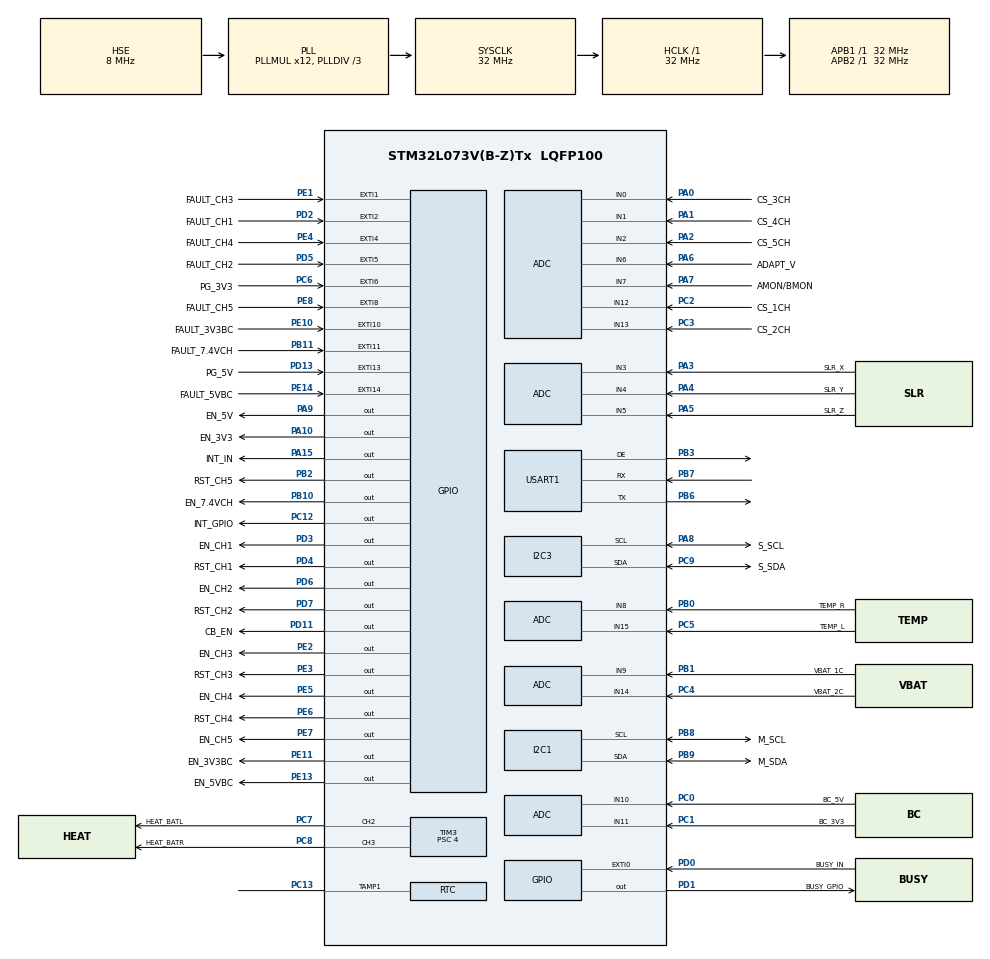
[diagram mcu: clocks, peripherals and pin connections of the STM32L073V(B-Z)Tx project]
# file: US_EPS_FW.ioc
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ADC.DMAContinuousRequests=ENABLE
ADC.EOCSelection=ADC_EOC_SEQ_CONV
ADC.ExternalTrigConv=ADC_EXTERNALTRIGCONV_T6_TRGO
ADC.OversamplingMode=ENABLE
ADC.Ratio=ADC_OVERSAMPLING_RATIO_16
ADC.RightBitShift=ADC_RIGHTBITSHIFT_4
ADC.SamplingTime=ADC_SAMPLETIME_12CYCLES_5
Dma.ADC.0.Direction=DMA_PERIPH_TO_MEMORY
Dma.ADC.0.Instance=DMA1_Channel1
Dma.ADC.0.MemDataAlignment=DMA_MDATAALIGN_HALFWORD
Dma.ADC.0.MemInc=DMA_MINC_ENABLE
Dma.ADC.0.Mode=DMA_CIRCULAR
Dma.ADC.0.PeriphDataAlignment=DMA_PDATAALIGN_HALFWORD
Dma.ADC.0.PeriphInc=DMA_PINC_DISABLE
Dma.ADC.0.Priority=DMA_PRIORITY_HIGH
Dma.Request0=ADC
FREERTOS.HEAP_NUMBER=1
FREERTOS.Tasks01=defaultTask,0,64,StartDefaultTask,Default,NULL,Dynamic,NULL,NULL;ADCTask,0,128,Start_ADCTask,As external,NULL,Dynamic,NULL,NULL;LedTask,-3,64,StartTask03,Default,NULL,Dynamic,NULL,NULL;myClimate,0,64,Start_PIDtask,Default,NULL,Dynamic,NULL,NULL;Fault_Task,2,128,StartTask_Fault05,Default,NULL,Dynamic,NULL,NULL
FREERTOS.configMINIMAL_STACK_SIZE=64
FREERTOS.configTOTAL_HEAP_SIZE=4096
FREERTOS.configUSE_COUNTING_SEMAPHORES=1
I2C1.Timing=0x00707CBB
I2C3.Timeout=0x00008186
I2C3.Timing=0x00707CBB
Mcu.Family=STM32L0
Mcu.Name=STM32L073V(B-Z)Tx
Mcu.Package=LQFP100
NVIC.ADC1_COMP_IRQn=true\:3\:0\:false\:false\:true\:true\:true
NVIC.DMA1_Channel1_IRQn=true\:3\:0\:false\:false\:true\:true\:false
NVIC.EXTI0_1_IRQn=true\:3\:0\:false\:false\:true\:true\:true
NVIC.EXTI2_3_IRQn=true\:3\:0\:false\:false\:true\:true\:true
NVIC.EXTI4_15_IRQn=true\:3\:0\:false\:false\:true\:true\:true
NVIC.TIM6_DAC_IRQn=true\:3\:0\:false\:false\:true\:true\:true
NVIC.TIM7_IRQn=true\:0\:0\:false\:false\:true\:false\:false
NVIC.TimeBase=TIM7_IRQn
NVIC.TimeBaseIP=TIM7
PA0.GPIO_Label=CS_3CH
PA0.Mode=IN0
PA0.Signal=ADC_IN0
PA1.GPIO_Label=CS_4CH
PA1.Mode=IN1
PA1.Signal=ADC_IN1
PA10.GPIO_Label=EN_3V3
PA10.Signal=GPIO_Output
PA13.Mode=Serial_Wire
PA13.Signal=SYS_SWDIO
PA14.Mode=Serial_Wire
PA14.Signal=SYS_SWCLK
PA15.GPIO_Label=INT_IN
PA15.Signal=GPIO_Output
PA2.GPIO_Label=CS_5CH
PA2.Mode=IN2
PA2.Signal=ADC_IN2
PA3.GPIO_Label=SLR_X
PA3.Mode=IN3
PA3.Signal=ADC_IN3
PA4.GPIO_Label=SLR_Y
PA4.Mode=IN4
PA4.Signal=ADC_IN4
PA5.GPIO_Label=SLR_Z
PA5.Mode=IN5
PA5.Signal=ADC_IN5
PA6.GPIO_Label=ADAPT_V
PA6.Mode=IN6
PA6.Signal=ADC_IN6
PA7.GPIO_Label=AMON/BMON
PA7.Mode=IN7
PA7.Signal=ADC_IN7
PA8.GPIO_Label=S_SCL
PA8.Mode=I2C
PA8.Signal=I2C3_SCL
PA9.GPIO_Label=EN_5V
PA9.Signal=GPIO_Output
PB0.GPIO_Label=TEMP_R
PB0.Mode=IN8
PB0.Signal=ADC_IN8
PB1.GPIO_Label=VBAT_1C
PB1.Mode=IN9
PB1.Signal=ADC_IN9
PB10.GPIO_Label=EN_7.4VCH
PB10.Signal=GPIO_Output
PB11.GPIO_Label=FAULT_7.4VCH
PB11.GPIO_ModeDefaultEXTI=GPIO_MODE_IT_FALLING
PB11.Signal=GPXTI11
PB2.GPIO_Label=RST_CH5
PB2.Signal=GPIO_Output
PB3.Mode=Hardware Flow Control (RS485)
PB3.Signal=USART1_DE
PB6.Mode=Asynchronous
PB6.Signal=USART1_TX
PB7.Mode=Asynchronous
PB7.Signal=USART1_RX
PB8.GPIO_Label=M_SCL
PB8.Mode=I2C
PB8.Signal=I2C1_SCL
PB9.GPIO_Label=M_SDA
PB9.Mode=I2C
PB9.Signal=I2C1_SDA
PC0.GPIO_Label=BC_5V
PC0.Mode=IN10
PC0.Signal=ADC_IN10
PC1.GPIO_Label=BC_3V3
PC1.Mode=IN11
PC1.Signal=ADC_IN11
PC12.GPIO_Label=INT_GPIO
PC12.Signal=GPIO_Output
PC13.Mode=Tamper 1 enabled
PC13.Signal=RTC_TAMP1
PC14-OSC32_IN.Mode=LSE-External-Oscillator
PC14-OSC32_IN.Signal=RCC_OSC32_IN
PC15-OSC32_OUT.Mode=LSE-External-Oscillator
PC15-OSC32_OUT.Signal=RCC_OSC32_OUT
PC2.GPIO_Label=CS_1CH
PC2.Mode=IN12
PC2.Signal=ADC_IN12
PC3.GPIO_Label=CS_2CH
PC3.Mode=IN13
PC3.Signal=ADC_IN13
PC4.GPIO_Label=VBAT_2C
PC4.Mode=IN14
PC4.Signal=ADC_IN14
PC5.GPIO_Label=TEMP_L
PC5.Mode=IN15
PC5.Signal=ADC_IN15
PC6.GPIO_Label=PG_3V3
PC6.GPIO_ModeDefaultEXTI=GPIO_MODE_IT_FALLING
PC6.GPIO_PuPd=GPIO_PULLUP
PC6.Signal=GPXTI6
PC7.GPIO_Label=HEAT_BATL
PC7.Signal=S_TIM3_CH2
PC8.GPIO_Label=HEAT_BATR
PC8.Signal=S_TIM3_CH3
PC9.GPIO_Label=S_SDA
PC9.Mode=I2C
PC9.Signal=I2C3_SDA
PD0.GPIO_Label=BUSY_IN
PD0.GPIO_ModeDefaultEXTI=GPIO_MODE_IT_FALLING
PD0.Signal=GPXTI0
PD1.GPIO_Label=BUSY_GPIO
PD1.Signal=GPIO_Output
PD11.GPIO_Label=CB_EN
PD11.GPIO_ModeDefaultOutputPP=GPIO_MODE_OUTPUT_PP
PD11.Signal=GPIO_Output
PD13.GPIO_Label=PG_5V
PD13.GPIO_ModeDefaultEXTI=GPIO_MODE_IT_FALLING
PD13.GPIO_PuPd=GPIO_PULLUP
PD13.Signal=GPXTI13
PD2.GPIO_Label=FAULT_CH1
PD2.GPIO_ModeDefaultEXTI=GPIO_MODE_IT_FALLING
PD2.Signal=GPXTI2
PD3.GPIO_Label=EN_CH1
PD3.Signal=GPIO_Output
PD4.GPIO_Label=RST_CH1
PD4.Signal=GPIO_Output
PD5.GPIO_Label=FAULT_CH2
PD5.GPIO_ModeDefaultEXTI=GPIO_MODE_IT_FALLING
PD5.Signal=GPXTI5
PD6.GPIO_Label=EN_CH2
PD6.Signal=GPIO_Output
PD7.GPIO_Label=RST_CH2
PD7.Signal=GPIO_Output
PE1.GPIO_Label=FAULT_CH3
PE1.GPIO_ModeDefaultEXTI=GPIO_MODE_IT_FALLING
PE1.Signal=GPXTI1
PE10.GPIO_Label=FAULT_3V3BC
PE10.GPIO_ModeDefaultEXTI=GPIO_MODE_IT_FALLING
PE10.Signal=GPXTI10
PE11.GPIO_Label=EN_3V3BC
PE11.Signal=GPIO_Output
PE13.GPIO_Label=EN_5VBC
PE13.Signal=GPIO_Output
PE14.GPIO_Label=FAULT_5VBC
PE14.GPIO_ModeDefaultEXTI=GPIO_MODE_IT_FALLING
PE14.Signal=GPXTI14
PE2.GPIO_Label=EN_CH3
PE2.Signal=GPIO_Output
PE3.GPIO_Label=RST_CH3
PE3.Signal=GPIO_Output
PE4.GPIO_Label=FAULT_CH4
PE4.GPIO_ModeDefaultEXTI=GPIO_MODE_IT_FALLING
PE4.Signal=GPXTI4
PE5.GPIO_Label=EN_CH4
PE5.Signal=GPIO_Output
PE6.GPIO_Label=RST_CH4
PE6.Signal=GPIO_Output
PE7.GPIO_Label=EN_CH5
PE7.Signal=GPIO_Output
PE8.GPIO_Label=FAULT_CH5
PE8.GPIO_ModeDefaultEXTI=GPIO_MODE_IT_FALLING
PE8.Signal=GPXTI8
PH0-OSC_IN.Mode=HSE-External-Oscillator
PH0-OSC_IN.Signal=RCC_OSC_IN
PH1-OSC_OUT.Mode=HSE-External-Oscillator
PH1-OSC_OUT.Signal=RCC_OSC_OUT
ProjectManager.HeapSize=0x200
ProjectManager.StackSize=0x400
ProjectManager.TargetToolchain=MDK-ARM V5.27
RCC.AHBFreq_Value=32000000
RCC.APB1Freq_Value=32000000
RCC.APB1TimFreq_Value=32000000
RCC.APB2Freq_Value=32000000
RCC.APB2TimFreq_Value=32000000
RCC.HCLKFreq_Value=32000000
RCC.HSE_VALUE=8000000
RCC.HSI16_VALUE=16000000
RCC.HSI48_VALUE=48000000
RCC.HSI_VALUE=16000000
RCC.MSI_VALUE=2097000
RCC.PLLDIV=RCC_PLLDIV_3
RCC.PLLMUL=RCC_PLLMUL_12
RCC.PLLSourceVirtual=RCC_PLLSOURCE_HSE
RCC.SYSCLKFreq_VALUE=32000000
RCC.SYSCLKSource=RCC_SYSCLKSOURCE_PLLCLK
RCC.VCOOutputFreq_Value=96000000
SH.S_TIM3_CH2.0=TIM3_CH2,PWM Generation2 CH2
SH.S_TIM3_CH3.0=TIM3_CH3,PWM Generation3 CH3
TIM3.Channel-PWM\ Generation2\ CH2=TIM_CHANNEL_2
TIM3.Channel-PWM\ Generation3\ CH3=TIM_CHANNEL_3
TIM3.Period=4095
TIM3.Prescaler=4
TIM3.Pulse-PWM\ Generation2\ CH2=0
TIM6.AutoReloadPreload=TIM_AUTORELOAD_PRELOAD_ENABLE
TIM6.Period=49999
TIM6.Prescaler=319
TIM6.TIM_MasterOutputTrigger=TIM_TRGO_UPDATE
USART1.VirtualMode-Asynchronous=VM_ASYNC
USART1.VirtualMode-Hardware\ Flow\ Control\ (RS485)=VM_ASYNC
VP_ADC_TempSens_Input.Mode=IN-TempSens
VP_ADC_Vref_Input.Mode=IN-Vrefint
VP_FREERTOS_VS_CMSIS_V1.Mode=CMSIS_V1
VP_RTC_VS_RTC_Activate.Mode=RTC_Enabled
VP_SYS_VS_tim7.Mode=TIM7
VP_TIM3_VS_ClockSourceINT.Mode=Internal
VP_TIM6_VS_ClockSourceINT.Mode=Enable_Timer
board=custom

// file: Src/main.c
/* USER CODE BEGIN Header */
/**
  ******************************************************************************
  * @file           : main.c
  * @brief          : Main program body
  ******************************************************************************
  * @attention
  *
  * <h2><center>&copy; Copyright (c) 2020 STMicroelectronics.
  * All rights reserved.</center></h2>
  *
  * This software component is licensed by ST under Ultimate Liberty license
  * SLA0044, the "License"; You may not use this file except in compliance with
  * the License. You may obtain a copy of the License at:
  *                             www.st.com/SLA0044
  *
  ******************************************************************************
  */
/* USER CODE END Header */
#include "main.h"
#include "cmsis_os.h"
#include "adc.h"
#include "dma.h"
#include "i2c.h"
#include "rtc.h"
#include "tim.h"
#include "usart.h"
#include "gpio.h"

void SystemClock_Config(void);
void MX_FREERTOS_Init(void);

int main(void)
{

  /* MCU Configuration--------------------------------------------------------*/

  /* Reset of all peripherals, Initializes the Flash interface and the Systick. */
  HAL_Init();

  /* Configure the system clock */
  SystemClock_Config();

  /* Initialize all configured peripherals */
  MX_GPIO_Init();
  MX_DMA_Init();
  MX_ADC_Init();
  MX_I2C1_Init();
  MX_I2C3_Init();
  MX_RTC_Init();
  MX_USART1_UART_Init();
  MX_TIM6_Init();
  MX_TIM3_Init();

  /* Call init function for freertos objects (in freertos.c) */
  MX_FREERTOS_Init();
  /* Start scheduler */
  osKernelStart();

  /* We should never get here as control is now taken by the scheduler */
  /* Infinite loop */
  while (1)
  {

  }
}

void SystemClock_Config(void)
{
  RCC_OscInitTypeDef RCC_OscInitStruct = {0};
  RCC_ClkInitTypeDef RCC_ClkInitStruct = {0};
  RCC_PeriphCLKInitTypeDef PeriphClkInit = {0};

  /** Configure the main internal regulator output voltage
  */
  __HAL_PWR_VOLTAGESCALING_CONFIG(PWR_REGULATOR_VOLTAGE_SCALE1);
  /** Initializes the RCC Oscillators according to the specified parameters
  * in the RCC_OscInitTypeDef structure.
  */
  RCC_OscInitStruct.OscillatorType = RCC_OSCILLATORTYPE_LSI|RCC_OSCILLATORTYPE_HSE;
  RCC_OscInitStruct.HSEState = RCC_HSE_ON;
  RCC_OscInitStruct.LSIState = RCC_LSI_ON;
  RCC_OscInitStruct.PLL.PLLState = RCC_PLL_ON;
  RCC_OscInitStruct.PLL.PLLSource = RCC_PLLSOURCE_HSE;
  RCC_OscInitStruct.PLL.PLLMUL = RCC_PLLMUL_12;
  RCC_OscInitStruct.PLL.PLLDIV = RCC_PLLDIV_3;
  if (HAL_RCC_OscConfig(&RCC_OscInitStruct) != HAL_OK)
  {
    Error_Handler();
  }
  /** Initializes the CPU, AHB and APB buses clocks
  */
  RCC_ClkInitStruct.ClockType = RCC_CLOCKTYPE_HCLK|RCC_CLOCKTYPE_SYSCLK
                              |RCC_CLOCKTYPE_PCLK1|RCC_CLOCKTYPE_PCLK2;
  RCC_ClkInitStruct.SYSCLKSource = RCC_SYSCLKSOURCE_PLLCLK;
  RCC_ClkInitStruct.AHBCLKDivider = RCC_SYSCLK_DIV1;
  RCC_ClkInitStruct.APB1CLKDivider = RCC_HCLK_DIV1;
  RCC_ClkInitStruct.APB2CLKDivider = RCC_HCLK_DIV1;

  if (HAL_RCC_ClockConfig(&RCC_ClkInitStruct, FLASH_LATENCY_1) != HAL_OK)
  {
    Error_Handler();
  }
  PeriphClkInit.PeriphClockSelection = RCC_PERIPHCLK_USART1|RCC_PERIPHCLK_I2C1
                              |RCC_PERIPHCLK_I2C3|RCC_PERIPHCLK_RTC;
  PeriphClkInit.Usart1ClockSelection = RCC_USART1CLKSOURCE_PCLK2;
  PeriphClkInit.I2c1ClockSelection = RCC_I2C1CLKSOURCE_PCLK1;
  PeriphClkInit.I2c3ClockSelection = RCC_I2C3CLKSOURCE_PCLK1;
  PeriphClkInit.RTCClockSelection = RCC_RTCCLKSOURCE_LSI;
  if (HAL_RCCEx_PeriphCLKConfig(&PeriphClkInit) != HAL_OK)
  {
    Error_Handler();
  }
}

void HAL_TIM_PeriodElapsedCallback(TIM_HandleTypeDef *htim)
{
  if (htim->Instance == TIM7) {
    HAL_IncTick();
  }
}

void Error_Handler(void)
{
}

/************************ (C) COPYRIGHT STMicroelectronics *****END OF FILE****/

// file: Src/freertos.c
/* USER CODE BEGIN Header */
/**
  ******************************************************************************
  * File Name          : freertos.c
  * Description        : Code for freertos applications
  ******************************************************************************
  * @attention
  *
  * <h2><center>&copy; Copyright (c) 2020 STMicroelectronics.
  * All rights reserved.</center></h2>
  *
  * This software component is licensed by ST under Ultimate Liberty license
  * SLA0044, the "License"; You may not use this file except in compliance with
  * the License. You may obtain a copy of the License at:
  *                             www.st.com/SLA0044
  *
  ******************************************************************************
  */
/* USER CODE END Header */

#include "FreeRTOS.h"
#include "task.h"
#include "main.h"
#include "cmsis_os.h"

/* USER CODE BEGIN Includes */
#include "adc.h"
#include "tim.h"
#include "string.h"
#include "stdbool.h"
#include "math.h"
#include "stm32l0xx_it.h"
/* USER CODE END Includes */

/* USER CODE BEGIN PD */

//******************* ISL9237 CONTROL REGISTER*********************//

#define I2C_DEV_WRITE_ADR 0x12 // ISL9237_HEX format !!!
#define I2C_DEV_READ_ADR 0x13  // Read

#define ISL_WRITE 0x12 // isl9237 i2c write adress
#define ISL_READ  0x13 // isl9237 i2c read adress

#define DEFAULT 0x00 //

#define ADAPTER1_ADR 0x3f //  AdapterCurrentLimit1 REGISTER
#define ADAPTER2_ADR 0x3b //  AdapterCurrentLimit2 REGISTER

#define CHARGE_ADR  0x14 //   ChargeCurrentLimit REGISTER
#define INF_REGISTOR 0x3A //  INFORMATION REGISTER

#define PROCHOT_AC 0x47 //  PROCHOT# Threshold for Adapter Overcurrent Condition
#define PROCHOT_DC 0x48 //  PROCHOT# Threshold for Battery Over Discharging Current Condition

#define CONTROL0_ADR 0x39 // Configure various charger options
#define IN_REG_ENB 0x04  //  disables or enables the input voltage regulation loop
#define SMB_TIMEOUT_DIS 0x80  //Disable the SMBus timeout function

#define CONTROL1_ADR 0x3c // CONTROL1 REGISTER 0x3CH
#define LEARN_MODE_ENB 0x1000 // the Battery Learn mode - enables
#define BMON_ENG  0x10 //  BMON as the output
#define PSYS_ENB  0x08 //  enables or disable system power monitor PSYS function

#define CONTROL2_ADR 0x3d // CONTROL2 REGISTER 0x3DH
#define ADP_CURENT_ENG 0x1000 // enables or disables the two-level adapter current limit function

//******************** define mcu's adc calibrate **********************//
#define VREFINT_CAL_ADDR ((uint16_t*)((uint32_t)0x1FF80078))
#define VDDD_MCU_VALUE 3300.0

#define TEMP130_CAL_ADDR ((uint16_t*) ((uint32_t) 0x1FF8007E))
#define TEMP30_CAL_ADDR ((uint16_t*) ((uint32_t) 0x1FF8007A))
#define VDD_CALIB ((uint16_t) (300))
#define VDD_APPLI ((uint16_t) (330))

#define ADC_CHANNELS 18
#define ADC_MAX_VALUE 4095.0

//******************* define adc divider coefficient  ******************//

#define     ADAPT_COEFT     4.22

#define     BAT1C_COEFT     2
#define     BAT2C_COEFT     3.55

#define     BC_5V_COEFT     3
#define     BC_3V_COEFT     1.5

#define     SOLAR_COEFT     1.4979
#define     VDD_MCU_COEFT   3000

#define     SHUNT_RES10     0.01
#define     SHUNT_RES20     0.02
#define     GAIN_CS         100.0
#define     GAIN_ISL        18.0

#define     TEMP_CONST1     5.506
#define     TEMP_CONST2     0.00176
#define     TEMP_CONST3     870.6

//******************* define PID control begin *************************//

#define T_POINT  20
#define Kp  290
#define Ti 19
#define TD 600
#define POWER_MAX 4095
#define POWER_MIN  0
#define PID_MAX  1000
#define PID_MIN 0
#define ADC_Kp  4.095

//******************* define PID control end ***************************//
extern I2C_HandleTypeDef hi2c3;
extern TIM_HandleTypeDef htim3;
extern TIM_HandleTypeDef htim6;
/* USER CODE END PD */

/* USER CODE BEGIN Variables */
uint16_t adc_data[ADC_CHANNELS];
uint16_t adc_data_copy[ADC_CHANNELS];

bool i2c_flag = false ;
volatile bool cplt_flag = false ; // interupt

uint16_t current_ch1 ;
uint16_t current_ch2 ;
uint16_t current_ch3 ;
uint16_t current_ch4 ;
uint16_t current_ch5 ;

uint16_t solar_ch_x ;
uint16_t solar_ch_y ;
uint16_t solar_ch_z ;

uint16_t buck_5v ;
uint16_t buck_3v3;

uint16_t bat_volts_2c;
uint16_t bat_volts_1c;

float temp_left_bat;
float temp_right_bat;

uint16_t adapt_voltage;
uint16_t adap_current_isl;
uint16_t bat_current_isl;

uint16_t temp_mcu ;
uint16_t vdda_mcu ;

////////////// Begin ISL9237 Charger I2C variables //////////////////

HAL_StatusTypeDef i2c_write ;
HAL_StatusTypeDef i2c_read ;

 uint8_t read_adap1[]={0,0};
 uint8_t read_adap2[]={0,0};

 uint8_t read_charge_limit[]={0,0};

 uint8_t read_control0[]={0,0};
 uint8_t read_control1[]={0,0};
 uint8_t read_control2[]={0,0};

 uint8_t read_inf_registor[]={0,0};

 uint8_t read_ac_prochot[]={0,0};
 uint8_t read_dc_prochot[]={0,0};

 ////////////////// Write Settings//////////////////////////////////
 uint16_t write_adap1_usb = 500;
 uint16_t write_adap1 =1000;
 uint16_t write_adap2 =1500;
 uint16_t write_charge_limit = 1000;

 uint16_t write_ac_prochot = 2000;
 uint16_t write_dc_prochot = 3000;

 uint16_t write_control0 = 0x00;
 uint16_t write_control1 = 0x0000 | BMON_ENG | PSYS_ENB ;
 uint16_t write_control1_togle = 0x0000 | PSYS_ENB ;
 uint16_t write_control2 = 0x0000 | ADP_CURENT_ENG ;

 uint16_t control1_reg_mod = 0x00;

 ////////////// End ISL9237 Charger I2C variables //////////////////

////////////// Begin PID regulator for Climate control /////////////

    float error, error_0, Integral ,Integral_regul,  cInt, differential, PID;
    int16_t power ;

///////////// End PID regulator for Climate control ////////////////
/****************Start Buck Regulator variables *******************/

bool pg_3v3_flag = false;
bool pg_5v_flag = false;

bool sys_ok_flag = false;

/******************End Buck Regulator variables *******************/
/*struct fault_manage
{
char chanell_name [60];
bool is_fault_channell ;
uint16_t is_fault_count ;
GPIO_TypeDef* en_gpio;
uint16_t en_pin;
GPIO_TypeDef* reset_gpio;
uint16_t reset_pin;
};*/
struct fault ch [] =
{
    {.fault_state = 0, .fault_cnt = 0, .en_gpio = EN_CH1_GPIO_Port , .en_pin = EN_CH1_Pin ,.rst_gpio = RST_CH1_GPIO_Port, .rst_pin = RST_CH1_Pin},  // CH1
    {.fault_state = 0, .fault_cnt = 0, .en_gpio = EN_CH2_GPIO_Port , .en_pin = EN_CH2_Pin ,.rst_gpio = RST_CH2_GPIO_Port, .rst_pin = RST_CH2_Pin},  // CH2
    {.fault_state = 0, .fault_cnt = 0, .en_gpio = EN_CH3_GPIO_Port , .en_pin = EN_CH3_Pin ,.rst_gpio = RST_CH3_GPIO_Port, .rst_pin = RST_CH3_Pin},  // CH3
    {.fault_state = 0, .fault_cnt = 0, .en_gpio = EN_CH4_GPIO_Port , .en_pin = EN_CH4_Pin ,.rst_gpio = RST_CH4_GPIO_Port, .rst_pin = RST_CH4_Pin},  // CH4
    {.fault_state = 0, .fault_cnt = 0, .en_gpio = EN_CH5_GPIO_Port , .en_pin = EN_CH5_Pin ,.rst_gpio = RST_CH5_GPIO_Port, .rst_pin = RST_CH5_Pin},  // CH5
    {.fault_state = 0, .fault_cnt = 0, .en_gpio = EN_3V3BC_GPIO_Port , .en_pin = EN_3V3BC_Pin ,.rst_gpio = NULL, .rst_pin = 0},     //      3V3_CH
    {.fault_state = 0, .fault_cnt = 0, .en_gpio = EN_5VBC_GPIO_Port ,  . en_pin = EN_5VBC_Pin ,.rst_gpio = NULL, .rst_pin = 0},       //      5V_CH
    {.fault_state = 0, .fault_cnt = 0, .en_gpio = EN_7_4VCH_GPIO_Port , .en_pin = EN_7_4VCH_Pin ,.rst_gpio = NULL, .rst_pin = 0},   //     7V4_CH
} ;

/////////////// SemaphoreHandle FAULT detect //////////////////////
xSemaphoreHandle  alert ;
/* USER CODE END Variables */
osThreadId defaultTaskHandle;
osThreadId ADCTaskHandle;
osThreadId LedTaskHandle;
osThreadId myClimateHandle;
osThreadId Fault_TaskHandle;

/* USER CODE BEGIN FunctionPrototypes */
void comp_adc (struct __DMA_HandleTypeDef * hdma);
void isl9237_i2c (void);
void start_pross (void);
/* USER CODE END FunctionPrototypes */

void StartDefaultTask(void const * argument);
extern void Start_ADCTask(void const * argument);
void StartTask03(void const * argument);
void Start_PIDtask(void const * argument);
void StartTask_Fault05(void const * argument);

void MX_FREERTOS_Init(void); /* (MISRA C 2004 rule 8.1) */

/* GetIdleTaskMemory prototype (linked to static allocation support) */
void vApplicationGetIdleTaskMemory( StaticTask_t **ppxIdleTaskTCBBuffer, StackType_t **ppxIdleTaskStackBuffer, uint32_t *pulIdleTaskStackSize );

/* USER CODE BEGIN GET_IDLE_TASK_MEMORY */
static StaticTask_t xIdleTaskTCBBuffer;
static StackType_t xIdleStack[configMINIMAL_STACK_SIZE];

void vApplicationGetIdleTaskMemory( StaticTask_t **ppxIdleTaskTCBBuffer, StackType_t **ppxIdleTaskStackBuffer, uint32_t *pulIdleTaskStackSize )
{
  *ppxIdleTaskTCBBuffer = &xIdleTaskTCBBuffer;
  *ppxIdleTaskStackBuffer = &xIdleStack[0];
  *pulIdleTaskStackSize = configMINIMAL_STACK_SIZE;
  /* place for user code */
}
/* USER CODE END GET_IDLE_TASK_MEMORY */

void MX_FREERTOS_Init(void) {

  /* Create the thread(s) */
  /* definition and creation of defaultTask */
  osThreadDef(defaultTask, StartDefaultTask, osPriorityNormal, 0, 64);
  defaultTaskHandle = osThreadCreate(osThread(defaultTask), NULL);

  /* definition and creation of ADCTask */
  osThreadDef(ADCTask, Start_ADCTask, osPriorityNormal, 0, 128);
  ADCTaskHandle = osThreadCreate(osThread(ADCTask), NULL);

  /* definition and creation of LedTask */
  osThreadDef(LedTask, StartTask03, osPriorityIdle, 0, 64);
  LedTaskHandle = osThreadCreate(osThread(LedTask), NULL);

  /* definition and creation of myClimate */
  osThreadDef(myClimate, Start_PIDtask, osPriorityNormal, 0, 64);
  myClimateHandle = osThreadCreate(osThread(myClimate), NULL);

  /* definition and creation of Fault_Task */
  osThreadDef(Fault_Task, StartTask_Fault05, osPriorityHigh, 0, 128);
  Fault_TaskHandle = osThreadCreate(osThread(Fault_Task), NULL);

  /* USER CODE BEGIN RTOS_THREADS */
  /* add threads, ... */
  alert = xSemaphoreCreateCounting( 5, 0 );

  /* USER CODE END RTOS_THREADS */

}

void StartDefaultTask(void const * argument)
{
  /* USER CODE BEGIN StartDefaultTask */

 isl9237_i2c ();
  /* Infinite loop */
  for(;;)
  {
         if (adapt_voltage > 4500 && adapt_voltage <= 5100)
             {
                i2c_flag = true ;
                i2c_write = HAL_I2C_Mem_Write(&hi2c3,ISL_WRITE, CONTROL1_ADR,1,(uint8_t*)&write_control1_togle,2,100);
                i2c_write = HAL_I2C_Mem_Write(&hi2c3,ISL_WRITE, ADAPTER1_ADR,1,(uint8_t*)&write_adap1_usb,2,100);
                i2c_write = HAL_I2C_Mem_Write(&hi2c3, ISL_WRITE, CHARGE_ADR, 1, (uint8_t*) &write_charge_limit, 2, 100);

                if(sys_ok_flag == true){

                // Activ task ;
                } else {

                    // disactive task

                }

              }
               else if (adapt_voltage > 5100)
              {
               i2c_flag = true ;
               i2c_write = HAL_I2C_Mem_Write(&hi2c3,ISL_WRITE, CONTROL1_ADR,1,(uint8_t*)&write_control1_togle,2,100);
               i2c_write = HAL_I2C_Mem_Write(&hi2c3,ISL_WRITE, ADAPTER1_ADR,1,(uint8_t*)&write_adap1,2,100);
               i2c_write = HAL_I2C_Mem_Write(&hi2c3, ISL_WRITE, CHARGE_ADR, 1, (uint8_t*) &write_charge_limit, 2, 100);
               if(sys_ok_flag == true){

                // Activ task ;
                }

              }
              else
                {
               i2c_flag = false ;
               i2c_write = HAL_I2C_Mem_Write(&hi2c3,ISL_WRITE, CONTROL1_ADR,1,(uint8_t*)&write_control1,2,100);
                }

    osDelay(10000);
  }
  /* USER CODE END StartDefaultTask */
}

void StartTask03(void const * argument)
{
  /* USER CODE BEGIN StartTask03 */

  /* Infinite loop */
  for(;;)
  {

    HAL_GPIO_TogglePin(INT_IN_GPIO_Port, INT_IN_Pin);

       osDelay(300);

  }

  /* USER CODE END StartTask03 */
}

void Start_PIDtask(void const * argument)
{
  /* USER CODE BEGIN Start_PIDtask */
  HAL_TIM_PWM_Start(&htim3,TIM_CHANNEL_3);
  /* Infinite loop */
  for(;;)
  {
        error_0 = error;
        error = T_POINT - temp_right_bat;
        //Integral = Integral+(error+ error_0)/2 ; // integral sinhro
        //Integral_regul =  Integral * (1/Ti);     // Integral regul
        Integral_regul +=(Ti*error) ;
      if(Integral_regul > PID_MAX) Integral_regul = PID_MAX;
      else if(Integral_regul < PID_MIN) Integral_regul = PID_MIN ;

       // differential =   TD * (error - error_0);
      differential = (error - error_0)/100 ;
        PID = (Kp*error +Integral_regul + TD*differential ) ;
        power = PID * ADC_Kp ;
       if(power >= POWER_MAX) power = POWER_MAX ;
       if(power <= 0) power = POWER_MIN ;
       htim3.Instance -> CCR3 = (uint32_t)power;

    osDelay(250);
  }
  /* USER CODE END Start_PIDtask */
}

void StartTask_Fault05(void const * argument)
{
  /* USER CODE BEGIN StartTask_Fault05 */
  /* Infinite loop */
  for(;;)
  {
    if(xSemaphoreTake (alert ,portMAX_DELAY) == pdTRUE){

      for(int i = 0; i<=(sizeof(ch)/ sizeof(ch)[0]); i++){
      if ( ch[i].fault_state == true){
          ch[i].fault_cnt ++;
          ch[i].fault_state = false ;
        if (ch[i].rst_gpio != NULL){
          switch (ch[i].fault_cnt) {
              case 1 :
              HAL_GPIO_WritePin(ch[i].en_gpio,ch[i].en_pin,GPIO_PIN_RESET);
                 osDelay(2000);
              HAL_GPIO_WritePin(ch[i].rst_gpio,ch[i].rst_pin,GPIO_PIN_SET);
                    osDelay(1000);
              HAL_GPIO_WritePin(ch[i].rst_gpio,ch[i].rst_pin,GPIO_PIN_RESET);
              HAL_GPIO_WritePin(ch[i].en_gpio,ch[i].en_pin,GPIO_PIN_SET);
              break;
              case 2 :
                  HAL_GPIO_WritePin(ch[i].en_gpio,ch[i].en_pin,GPIO_PIN_RESET);
                  osDelay(3000);
                  HAL_GPIO_WritePin(ch[i].rst_gpio,ch[i].rst_pin,GPIO_PIN_SET);
                  osDelay(1000);
                  HAL_GPIO_WritePin(ch[i].rst_gpio,ch[i].rst_pin,GPIO_PIN_RESET);
                  HAL_GPIO_WritePin(ch[i].en_gpio,ch[i].en_pin,GPIO_PIN_SET);
              break ;
              case  3:
                  HAL_GPIO_WritePin(ch[i].en_gpio,ch[i].en_pin,GPIO_PIN_RESET);
                  osDelay(1000);
                  HAL_GPIO_WritePin(ch[i].rst_gpio,ch[i].rst_pin,GPIO_PIN_SET);
                  osDelay(1000);
                  HAL_GPIO_WritePin(ch[i].rst_gpio,ch[i].rst_pin,GPIO_PIN_RESET);
                  HAL_GPIO_WritePin(ch[i].en_gpio,ch[i].en_pin,GPIO_PIN_RESET);
              break;
              default:
                  ch[i].fault_cnt = 0;
                  ch[i].fault_state = false ;
                  HAL_GPIO_WritePin(ch[i].rst_gpio,ch[i].rst_pin,GPIO_PIN_SET);
                  osDelay(1000);
                  HAL_GPIO_WritePin(ch[i].rst_gpio,ch[i].rst_pin,GPIO_PIN_RESET);
                  HAL_GPIO_WritePin(ch[i].en_gpio,ch[i].en_pin,GPIO_PIN_RESET);
              break;
             }
        } else {

              switch (ch[i].fault_cnt) {
              case 1 :
              HAL_GPIO_WritePin(ch[i].en_gpio,ch[i].en_pin,GPIO_PIN_RESET);
                 osDelay(1000);
              HAL_GPIO_WritePin(ch[i].en_gpio,ch[i].en_pin,GPIO_PIN_SET);
              break;
               case 2 :
              HAL_GPIO_WritePin(ch[i].en_gpio,ch[i].en_pin,GPIO_PIN_RESET);
                 osDelay(2000);
              HAL_GPIO_WritePin(ch[i].en_gpio,ch[i].en_pin,GPIO_PIN_SET);
              break;
               case 3 :
              HAL_GPIO_WritePin(ch[i].en_gpio,ch[i].en_pin,GPIO_PIN_RESET);
                 osDelay(3000);
              HAL_GPIO_WritePin(ch[i].en_gpio,ch[i].en_pin,GPIO_PIN_SET);
              break;
              default:
                  ch[i].fault_cnt = 0;
                  ch[i].fault_state = false ;
                  HAL_GPIO_WritePin(ch[i].en_gpio,ch[i].en_pin,GPIO_PIN_RESET);
              break;
        }

  }
}else {__NOP;}
            }

    }
    osDelay(1);
  }
  /* USER CODE END StartTask_Fault05 */
}

/* USER CODE BEGIN Application */
void Start_ADCTask(void const * argument)
{
    uint32_t VDDA_CALIB_DATA = *VREFINT_CAL_ADDR;

    HAL_ADCEx_Calibration_Start(&hadc,ADC_SINGLE_ENDED);
    HAL_TIM_Base_Start(&htim6);
    HAL_ADC_Start_DMA(&hadc, (uint32_t*) &adc_data, ADC_CHANNELS);
    /* Infinite loop */
    for(;;)
    {
        hadc.DMA_Handle->XferCpltCallback = comp_adc;
        while( cplt_flag != true )
        {

        }
        cplt_flag = false;

        vdda_mcu = (uint16_t) (( (uint32_t)3000 * VDDA_CALIB_DATA ) / (adc_data_copy [16]));
        adapt_voltage = (uint16_t)  (( ( (float) adc_data_copy [6]* VDDD_MCU_VALUE)/ ADC_MAX_VALUE))* ADAPT_COEFT;

        bat_volts_1c = (uint16_t) ( ( ( (float) adc_data_copy [9] * (float) vdda_mcu) / ADC_MAX_VALUE ))* BAT1C_COEFT;
        bat_volts_2c = (uint16_t) ( ( ( (float) adc_data_copy [14] * (float) vdda_mcu) / ADC_MAX_VALUE ))* BAT2C_COEFT;

        buck_5v =     (uint16_t) ( ( ( (float) adc_data_copy [10] *  VDDD_MCU_VALUE) / ADC_MAX_VALUE ))* BC_5V_COEFT;
        buck_3v3 =    (uint16_t) ( ( ( (float) adc_data_copy [11] *  VDDD_MCU_VALUE) / ADC_MAX_VALUE ))* BC_3V_COEFT;

        current_ch1 = (uint16_t) ( ( ( ( (float) adc_data_copy [12] * (float) VDDD_MCU_VALUE)/ADC_MAX_VALUE)) /GAIN_CS)/SHUNT_RES10;
        current_ch2 = (uint16_t) ( ( ( ( (float) adc_data_copy [13] * (float) VDDD_MCU_VALUE)/ADC_MAX_VALUE)) /GAIN_CS)/SHUNT_RES20;
        current_ch3 = (uint16_t) ( ( ( ( (float) adc_data_copy [0] *  (float) VDDD_MCU_VALUE)/ADC_MAX_VALUE)) /GAIN_CS)/SHUNT_RES20;
        current_ch4 = (uint16_t) ( ( ( ( (float) adc_data_copy [1] *  (float) VDDD_MCU_VALUE)/ADC_MAX_VALUE)) /GAIN_CS)/SHUNT_RES20;
        current_ch5 = (uint16_t) ( ( ( ( (float) adc_data_copy [2] *  (float) VDDD_MCU_VALUE)/ADC_MAX_VALUE)) /GAIN_CS)/SHUNT_RES20;

        solar_ch_x =  (uint16_t) ( ( ( (float) adc_data_copy [3] * (float) VDDD_MCU_VALUE) / ADC_MAX_VALUE )) * SOLAR_COEFT;
        solar_ch_y =  (uint16_t) ( ( ( (float) adc_data_copy [4] * (float) VDDD_MCU_VALUE) / ADC_MAX_VALUE )) * SOLAR_COEFT;
        solar_ch_z =  (uint16_t) ( ( ( (float) adc_data_copy [5] * (float) VDDD_MCU_VALUE) / ADC_MAX_VALUE )) * SOLAR_COEFT;
        temp_left_bat = (((TEMP_CONST1 - sqrt( pow((-TEMP_CONST1),2)+ 4*TEMP_CONST2 *(TEMP_CONST3-( ( (float) adc_data_copy [15]*VDDD_MCU_VALUE) / ADC_MAX_VALUE ))))/(2*(-TEMP_CONST2)))+30);
        temp_right_bat =(((TEMP_CONST1 - sqrt( pow((-TEMP_CONST1),2)+ 4*TEMP_CONST2 *(TEMP_CONST3-( ( (float) adc_data_copy [8]*VDDD_MCU_VALUE) / ADC_MAX_VALUE ))))/(2*(-TEMP_CONST2)))+30);

        temp_mcu = ((((((float)adc_data_copy [17]) * VDD_APPLI/VDD_CALIB )- (int32_t)*TEMP30_CAL_ADDR)*(int32_t)(130-30))/(int32_t)(*TEMP130_CAL_ADDR -*TEMP30_CAL_ADDR))+30 ;
        adap_current_isl = (uint16_t) ( ( ( ( (float) adc_data_copy [7]*VDDD_MCU_VALUE) / ADC_MAX_VALUE)/GAIN_ISL)/SHUNT_RES20);

        if (i2c_flag == true){
        adap_current_isl = (uint16_t) ( ( ( ( (float) adc_data_copy [7]*VDDD_MCU_VALUE) / ADC_MAX_VALUE)/GAIN_ISL)/SHUNT_RES20);
        bat_current_isl = 0 ;
        } else {
        bat_current_isl = (uint16_t) ( ( ( ( (float) adc_data_copy [7]*VDDD_MCU_VALUE) / ADC_MAX_VALUE)/GAIN_ISL)/SHUNT_RES10);
        adap_current_isl = 0 ;
        }
        osDelay(100);
        }
  /* USER CODE END StartDefaultTask */
}

void comp_adc (struct __DMA_HandleTypeDef * hdma)
{
    cplt_flag = true;
    memcpy( (uint8_t*) &adc_data_copy, (uint8_t*) &adc_data, sizeof(adc_data));
    //end
    hadc.DMA_Handle->XferCpltCallback = NULL;
}

void isl9237_i2c (void){

     i2c_read = HAL_I2C_Mem_Read(&hi2c3, ISL_READ, CHARGE_ADR, 1, (uint8_t*) &read_charge_limit, 2, 1000);     // Read  Charge Current Limit value Settings
     i2c_write = HAL_I2C_Mem_Write(&hi2c3, ISL_WRITE, CHARGE_ADR, 1, (uint8_t*) &write_charge_limit, 2, 1000); //  Write Set Charge Current Limit value Settings

     i2c_write = HAL_I2C_Mem_Write(&hi2c3,ISL_WRITE, ADAPTER1_ADR,1,(uint8_t*)&write_adap1,2,100); // APAPTER_CURRENT_1 WRITE
     i2c_write = HAL_I2C_Mem_Write(&hi2c3,ISL_WRITE, ADAPTER2_ADR,1,(uint8_t*)&write_adap2,2,100); // APAPTER_CURRENT_2 WRITE

     i2c_read = HAL_I2C_Mem_Read(&hi2c3,ISL_READ, ADAPTER1_ADR, 1,(uint8_t*) &read_adap1, 2, 100); // APAPTER_CURRENT_1 READ
     i2c_read = HAL_I2C_Mem_Read(&hi2c3,ISL_READ, ADAPTER2_ADR, 1,(uint8_t*) &read_adap2, 2, 100); // APAPTER_CURRENT_2 READ

     i2c_write = HAL_I2C_Mem_Write(&hi2c3,ISL_WRITE, PROCHOT_AC,1,(uint8_t*)&write_ac_prochot,2,100);  // Write AC_PROCHOT Settings
     i2c_read = HAL_I2C_Mem_Read(&hi2c3,ISL_READ, PROCHOT_AC, 1,(uint8_t*) &read_ac_prochot, 2, 100);  // Read  AC_PROCHOT Settings

     i2c_write = HAL_I2C_Mem_Write(&hi2c3,ISL_WRITE, PROCHOT_DC,1,(uint8_t*)&write_dc_prochot,2,100);  // Write DC_PROCHOT Settings
     i2c_read = HAL_I2C_Mem_Read(&hi2c3,ISL_READ, PROCHOT_DC, 1,(uint8_t*) &read_dc_prochot, 2, 100);  // Read  DC_PROCHOT Settings

     i2c_write = HAL_I2C_Mem_Write(&hi2c3,ISL_WRITE, CONTROL0_ADR,1,(uint8_t*)&write_control0,2,100);  //  Write REG Control_0 Settings
     i2c_read = HAL_I2C_Mem_Read(&hi2c3,ISL_READ, CONTROL0_ADR, 1,(uint8_t*) &read_control0, 2, 100);  //  Read  REG Control_0 Settings

     i2c_read = HAL_I2C_Mem_Read(&hi2c3,ISL_READ, CONTROL1_ADR, 1,(uint8_t*) &read_control1, 2, 100);  //  Read  REG Control_1 Settings
     i2c_write = HAL_I2C_Mem_Write(&hi2c3,ISL_WRITE, CONTROL1_ADR,1,(uint8_t*)&write_control1,2,100);  //  Write REG Control_1 Settings

     i2c_read = HAL_I2C_Mem_Read(&hi2c3,ISL_READ, CONTROL2_ADR, 1,(uint8_t*)&read_control2, 2, 100);   //  Read  REG Control_2 Settings
     i2c_write = HAL_I2C_Mem_Write(&hi2c3,ISL_WRITE, CONTROL2_ADR,1,(uint8_t*)&write_control2,2,100);  //  Write REG Control_2 Settings

     i2c_read = HAL_I2C_Mem_Read(&hi2c3,ISL_READ, INF_REGISTOR, 1,(uint8_t*)&read_inf_registor, 2, 100); // Read information various charger status

}
void start_pross (void)
{

    HAL_GPIO_WritePin(EN_5V_GPIO_Port,EN_5V_Pin,GPIO_PIN_SET);
    HAL_GPIO_WritePin(EN_3V3_GPIO_Port,EN_3V3_Pin,GPIO_PIN_SET);

    osDelay(10);

    if (buck_5v > 4750 && buck_3v3 > 3000) {

        if(pg_5v_flag == false && pg_3v3_flag == false){

            // SYS_OK

        } else if (pg_5v_flag == true){

            // SYS_ERROR_5V Buck converter line

        } else if (pg_3v3_flag == true){

           // SYS_ERROR_3V3 Buck converter line
        }

    } else {

    //CHARGE_Mode and will Wait give SYS_OK_FLAG
    }

    HAL_TIM_Base_Start(&htim6);

}

/* USER CODE END Application */

/************************ (C) COPYRIGHT STMicroelectronics *****END OF FILE****/
